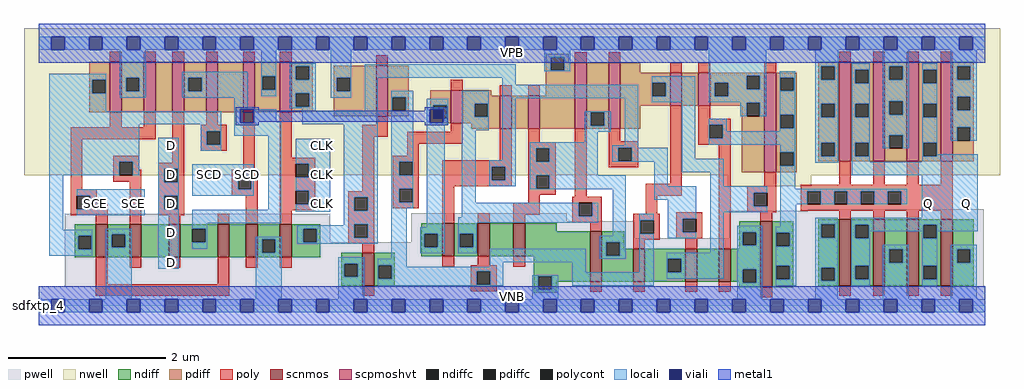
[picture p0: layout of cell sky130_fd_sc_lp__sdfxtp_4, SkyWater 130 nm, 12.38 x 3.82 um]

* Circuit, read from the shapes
.subckt sky130_fd_sc_lp__sdfxtp_4 CLK D SCD SCE VGND VNB VPB VPWR Q
XM1 VGND SCE n1 VNB sky130_fd_pr__nfet_01v8 w=0.42 l=0.15
XM2 n2 n1 VGND VNB sky130_fd_pr__nfet_01v8 w=0.42 l=0.15
XM3 n3 D n2 VNB sky130_fd_pr__nfet_01v8 w=0.42 l=0.15
XM4 n4 SCE n3 VNB sky130_fd_pr__nfet_01v8 w=0.42 l=0.15
XM5 VGND SCD n4 VNB sky130_fd_pr__nfet_01v8 w=0.42 l=0.15
XM6 n5 CLK VGND VNB sky130_fd_pr__nfet_01v8 w=0.42 l=0.15
XM7 n6 n5 VGND VNB sky130_fd_pr__nfet_01v8 w=0.42 l=0.15
XM8 n7 n5 n3 VNB sky130_fd_pr__nfet_01v8 w=0.42 l=0.15
XM9 n8 n6 n7 VNB sky130_fd_pr__nfet_01v8 w=0.42 l=0.15
XM10 VGND n9 n8 VNB sky130_fd_pr__nfet_01v8 w=0.42 l=0.15
XM11 n9 n7 VGND VNB sky130_fd_pr__nfet_01v8 w=0.64 l=0.15
XM12 n10 n6 n9 VNB sky130_fd_pr__nfet_01v8 w=0.42 l=0.15
XM13 n11 n5 n10 VNB sky130_fd_pr__nfet_01v8 w=0.42 l=0.15
XM14 VGND n12 n11 VNB sky130_fd_pr__nfet_01v8 w=0.42 l=0.15
XM15 n12 n10 VGND VNB sky130_fd_pr__nfet_01v8 w=0.84 l=0.15
XM16 Q n12 VGND VNB sky130_fd_pr__nfet_01v8 w=0.84 l=0.15 m=4
XM17 VPWR SCE n1 VPB sky130_fd_pr__pfet_01v8_hvt w=0.64 l=0.15
XM18 n13 SCE VPWR VPB sky130_fd_pr__pfet_01v8_hvt w=0.64 l=0.15
XM19 n3 D n13 VPB sky130_fd_pr__pfet_01v8_hvt w=0.64 l=0.15
XM20 n14 n1 n3 VPB sky130_fd_pr__pfet_01v8_hvt w=0.64 l=0.15
XM21 VPWR SCD n14 VPB sky130_fd_pr__pfet_01v8_hvt w=0.64 l=0.15
XM22 n5 CLK VPWR VPB sky130_fd_pr__pfet_01v8_hvt w=0.64 l=0.15
XM23 n6 n5 VPWR VPB sky130_fd_pr__pfet_01v8_hvt w=0.64 l=0.15
XM24 n7 n6 n3 VPB sky130_fd_pr__pfet_01v8_hvt w=0.42 l=0.15
XM25 n15 n5 n7 VPB sky130_fd_pr__pfet_01v8_hvt w=0.42 l=0.15
XM26 VPWR n9 n15 VPB sky130_fd_pr__pfet_01v8_hvt w=0.42 l=0.15
XM27 n9 n7 VPWR VPB sky130_fd_pr__pfet_01v8_hvt w=0.84 l=0.15
XM28 n10 n5 n9 VPB sky130_fd_pr__pfet_01v8_hvt w=0.84 l=0.15
XM29 n16 n6 n10 VPB sky130_fd_pr__pfet_01v8_hvt w=0.42 l=0.15
XM30 VPWR n12 n16 VPB sky130_fd_pr__pfet_01v8_hvt w=0.42 l=0.15
XM31 n12 n10 VPWR VPB sky130_fd_pr__pfet_01v8_hvt w=1.26 l=0.15
XM32 Q n12 VPWR VPB sky130_fd_pr__pfet_01v8_hvt w=1.26 l=0.15 m=4
.ends

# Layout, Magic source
magic
tech sky130A
magscale 1 2
<< nwell >>
rect -38 331 2438 704
rect 1747 303 1959 331
<< pwell >>
rect 1951 241 2397 245
rect 65 161 739 233
rect 944 215 1339 235
rect 944 171 1511 215
rect 1751 171 2397 241
rect 944 161 2397 171
rect 65 49 2397 161
rect 0 0 2400 49
<< scnmos >>
rect 144 123 174 207
rect 230 123 260 207
rect 329 123 359 207
rect 453 123 483 207
rect 525 123 555 207
rect 611 123 641 207
rect 820 51 850 135
rect 1023 125 1053 209
rect 1113 125 1143 209
rect 1203 125 1233 209
rect 1398 61 1428 189
rect 1507 61 1537 145
rect 1640 61 1670 145
rect 1725 61 1755 145
rect 1830 47 1860 215
rect 2030 51 2060 219
rect 2116 51 2146 219
rect 2202 51 2232 219
rect 2288 51 2318 219
<< scpmoshvt >>
rect 180 491 210 619
rect 266 491 296 619
rect 338 491 368 619
rect 424 491 454 619
rect 518 491 548 619
rect 611 491 641 619
rect 855 481 885 609
rect 1045 463 1075 547
rect 1169 449 1199 533
rect 1241 449 1271 533
rect 1359 449 1389 617
rect 1445 449 1475 617
rect 1601 507 1631 591
rect 1673 507 1703 591
rect 1840 339 1870 591
rect 2030 367 2060 619
rect 2116 367 2146 619
rect 2202 367 2232 619
rect 2288 367 2318 619
<< ndiff >>
rect 91 177 144 207
rect 91 143 99 177
rect 133 143 144 177
rect 91 123 144 143
rect 174 182 230 207
rect 174 148 185 182
rect 219 148 230 182
rect 174 123 230 148
rect 260 123 329 207
rect 359 195 453 207
rect 359 161 389 195
rect 423 161 453 195
rect 359 123 453 161
rect 483 123 525 207
rect 555 169 611 207
rect 555 135 566 169
rect 600 135 611 169
rect 555 123 611 135
rect 641 195 713 207
rect 641 161 671 195
rect 705 161 713 195
rect 641 123 713 161
rect 970 183 1023 209
rect 970 149 978 183
rect 1012 149 1023 183
rect 767 107 820 135
rect 767 73 775 107
rect 809 73 820 107
rect 767 51 820 73
rect 850 103 903 135
rect 970 125 1023 149
rect 1053 183 1113 209
rect 1053 149 1068 183
rect 1102 149 1113 183
rect 1053 125 1113 149
rect 1143 125 1203 209
rect 1233 189 1313 209
rect 1233 125 1398 189
rect 850 69 861 103
rect 895 69 903 103
rect 850 51 903 69
rect 1255 75 1398 125
rect 1255 41 1267 75
rect 1301 61 1398 75
rect 1428 161 1485 189
rect 1428 127 1439 161
rect 1473 145 1485 161
rect 1777 187 1830 215
rect 1777 153 1785 187
rect 1819 153 1830 187
rect 1777 145 1830 153
rect 1473 127 1507 145
rect 1428 61 1507 127
rect 1537 119 1640 145
rect 1537 85 1595 119
rect 1629 85 1640 119
rect 1537 61 1640 85
rect 1670 61 1725 145
rect 1755 93 1830 145
rect 1755 61 1785 93
rect 1301 41 1313 61
rect 1255 33 1313 41
rect 1777 59 1785 61
rect 1819 59 1830 93
rect 1777 47 1830 59
rect 1860 185 1913 215
rect 1860 151 1871 185
rect 1905 151 1913 185
rect 1860 101 1913 151
rect 1860 67 1871 101
rect 1905 67 1913 101
rect 1860 47 1913 67
rect 1977 207 2030 219
rect 1977 173 1985 207
rect 2019 173 2030 207
rect 1977 97 2030 173
rect 1977 63 1985 97
rect 2019 63 2030 97
rect 1977 51 2030 63
rect 2060 205 2116 219
rect 2060 171 2071 205
rect 2105 171 2116 205
rect 2060 101 2116 171
rect 2060 67 2071 101
rect 2105 67 2116 101
rect 2060 51 2116 67
rect 2146 143 2202 219
rect 2146 109 2157 143
rect 2191 109 2202 143
rect 2146 51 2202 109
rect 2232 205 2288 219
rect 2232 171 2243 205
rect 2277 171 2288 205
rect 2232 101 2288 171
rect 2232 67 2243 101
rect 2277 67 2288 101
rect 2232 51 2288 67
rect 2318 143 2371 219
rect 2318 109 2329 143
rect 2363 109 2371 143
rect 2318 51 2371 109
<< pdiff >>
rect 127 573 180 619
rect 127 539 135 573
rect 169 539 180 573
rect 127 491 180 539
rect 210 578 266 619
rect 210 544 221 578
rect 255 544 266 578
rect 210 491 266 544
rect 296 491 338 619
rect 368 578 424 619
rect 368 544 379 578
rect 413 544 424 578
rect 368 491 424 544
rect 454 491 518 619
rect 548 582 611 619
rect 548 548 566 582
rect 600 548 611 582
rect 548 491 611 548
rect 641 607 694 619
rect 1286 631 1344 639
rect 641 573 652 607
rect 686 573 694 607
rect 641 539 694 573
rect 641 505 652 539
rect 686 505 694 539
rect 641 491 694 505
rect 748 578 855 609
rect 748 544 756 578
rect 790 544 855 578
rect 748 481 855 544
rect 885 529 938 609
rect 1286 597 1298 631
rect 1332 617 1344 631
rect 1332 597 1359 617
rect 885 495 896 529
rect 930 495 938 529
rect 885 481 938 495
rect 992 509 1045 547
rect 992 475 1000 509
rect 1034 475 1045 509
rect 992 463 1045 475
rect 1075 533 1147 547
rect 1286 533 1359 597
rect 1075 513 1169 533
rect 1075 479 1105 513
rect 1139 479 1169 513
rect 1075 463 1169 479
rect 1097 449 1169 463
rect 1199 449 1241 533
rect 1271 449 1359 533
rect 1389 491 1445 617
rect 1389 457 1400 491
rect 1434 457 1445 491
rect 1389 449 1445 457
rect 1475 591 1525 617
rect 1977 607 2030 619
rect 1475 566 1601 591
rect 1475 532 1556 566
rect 1590 532 1601 566
rect 1475 507 1601 532
rect 1631 507 1673 591
rect 1703 583 1840 591
rect 1703 566 1795 583
rect 1703 532 1714 566
rect 1748 549 1795 566
rect 1829 549 1840 583
rect 1748 532 1840 549
rect 1703 515 1840 532
rect 1703 507 1795 515
rect 1475 449 1525 507
rect 1783 481 1795 507
rect 1829 481 1840 515
rect 1783 339 1840 481
rect 1870 579 1923 591
rect 1870 545 1881 579
rect 1915 545 1923 579
rect 1870 484 1923 545
rect 1870 450 1881 484
rect 1915 450 1923 484
rect 1870 389 1923 450
rect 1870 355 1881 389
rect 1915 355 1923 389
rect 1977 573 1985 607
rect 2019 573 2030 607
rect 1977 512 2030 573
rect 1977 478 1985 512
rect 2019 478 2030 512
rect 1977 413 2030 478
rect 1977 379 1985 413
rect 2019 379 2030 413
rect 1977 367 2030 379
rect 2060 599 2116 619
rect 2060 565 2071 599
rect 2105 565 2116 599
rect 2060 512 2116 565
rect 2060 478 2071 512
rect 2105 478 2116 512
rect 2060 413 2116 478
rect 2060 379 2071 413
rect 2105 379 2116 413
rect 2060 367 2116 379
rect 2146 607 2202 619
rect 2146 573 2157 607
rect 2191 573 2202 607
rect 2146 519 2202 573
rect 2146 485 2157 519
rect 2191 485 2202 519
rect 2146 433 2202 485
rect 2146 399 2157 433
rect 2191 399 2202 433
rect 2146 367 2202 399
rect 2232 599 2288 619
rect 2232 565 2243 599
rect 2277 565 2288 599
rect 2232 512 2288 565
rect 2232 478 2243 512
rect 2277 478 2288 512
rect 2232 413 2288 478
rect 2232 379 2243 413
rect 2277 379 2288 413
rect 2232 367 2288 379
rect 2318 607 2371 619
rect 2318 573 2329 607
rect 2363 573 2371 607
rect 2318 530 2371 573
rect 2318 496 2329 530
rect 2363 496 2371 530
rect 2318 453 2371 496
rect 2318 419 2329 453
rect 2363 419 2371 453
rect 2318 367 2371 419
rect 1870 339 1923 355
<< ndiffc >>
rect 99 143 133 177
rect 185 148 219 182
rect 389 161 423 195
rect 566 135 600 169
rect 671 161 705 195
rect 978 149 1012 183
rect 775 73 809 107
rect 1068 149 1102 183
rect 861 69 895 103
rect 1267 41 1301 75
rect 1439 127 1473 161
rect 1785 153 1819 187
rect 1595 85 1629 119
rect 1785 59 1819 93
rect 1871 151 1905 185
rect 1871 67 1905 101
rect 1985 173 2019 207
rect 1985 63 2019 97
rect 2071 171 2105 205
rect 2071 67 2105 101
rect 2157 109 2191 143
rect 2243 171 2277 205
rect 2243 67 2277 101
rect 2329 109 2363 143
<< pdiffc >>
rect 135 539 169 573
rect 221 544 255 578
rect 379 544 413 578
rect 566 548 600 582
rect 652 573 686 607
rect 652 505 686 539
rect 756 544 790 578
rect 1298 597 1332 631
rect 896 495 930 529
rect 1000 475 1034 509
rect 1105 479 1139 513
rect 1400 457 1434 491
rect 1556 532 1590 566
rect 1714 532 1748 566
rect 1795 549 1829 583
rect 1795 481 1829 515
rect 1881 545 1915 579
rect 1881 450 1915 484
rect 1881 355 1915 389
rect 1985 573 2019 607
rect 1985 478 2019 512
rect 1985 379 2019 413
rect 2071 565 2105 599
rect 2071 478 2105 512
rect 2071 379 2105 413
rect 2157 573 2191 607
rect 2157 485 2191 519
rect 2157 399 2191 433
rect 2243 565 2277 599
rect 2243 478 2277 512
rect 2243 379 2277 413
rect 2329 573 2363 607
rect 2329 496 2363 530
rect 2329 419 2363 453
<< poly >>
rect 180 619 210 645
rect 266 619 296 645
rect 338 619 368 645
rect 424 619 454 645
rect 518 619 548 645
rect 611 619 641 645
rect 855 609 885 635
rect 180 453 210 491
rect 266 453 296 491
rect 80 423 296 453
rect 80 295 110 423
rect 188 365 254 381
rect 188 331 204 365
rect 238 345 254 365
rect 338 363 368 491
rect 424 459 454 491
rect 410 443 476 459
rect 410 409 426 443
rect 460 409 476 443
rect 410 393 476 409
rect 302 347 368 363
rect 238 331 260 345
rect 188 315 260 331
rect 80 279 146 295
rect 80 245 96 279
rect 130 259 146 279
rect 130 245 174 259
rect 80 229 174 245
rect 144 207 174 229
rect 230 207 260 315
rect 302 313 318 347
rect 352 313 368 347
rect 518 345 548 491
rect 611 376 641 491
rect 1359 617 1389 643
rect 1445 617 1475 643
rect 2030 619 2060 645
rect 2116 619 2146 645
rect 2202 619 2232 645
rect 2288 619 2318 645
rect 1045 547 1075 573
rect 855 459 885 481
rect 1169 533 1199 559
rect 1241 533 1271 559
rect 820 429 885 459
rect 1045 441 1075 463
rect 1601 591 1631 617
rect 1673 591 1703 617
rect 1840 591 1870 617
rect 611 360 701 376
rect 302 279 368 313
rect 489 329 555 345
rect 489 295 505 329
rect 539 295 555 329
rect 489 279 555 295
rect 302 245 318 279
rect 352 245 368 279
rect 302 229 368 245
rect 329 207 359 229
rect 453 207 483 233
rect 525 207 555 279
rect 611 326 651 360
rect 685 326 701 360
rect 611 292 701 326
rect 611 258 651 292
rect 685 258 701 292
rect 820 291 850 429
rect 934 411 1075 441
rect 934 381 964 411
rect 611 242 701 258
rect 784 275 850 291
rect 611 207 641 242
rect 784 241 800 275
rect 834 241 850 275
rect 898 365 964 381
rect 1169 369 1199 449
rect 898 331 914 365
rect 948 331 964 365
rect 898 297 964 331
rect 898 263 914 297
rect 948 263 964 297
rect 898 247 964 263
rect 1023 353 1199 369
rect 1023 319 1149 353
rect 1183 319 1199 353
rect 1023 303 1199 319
rect 1241 415 1271 449
rect 1241 399 1311 415
rect 1241 365 1261 399
rect 1295 365 1311 399
rect 1241 331 1311 365
rect 784 207 850 241
rect 1023 209 1053 303
rect 1241 297 1261 331
rect 1295 297 1311 331
rect 1241 281 1311 297
rect 1241 261 1271 281
rect 1359 277 1389 449
rect 1445 417 1475 449
rect 1445 401 1520 417
rect 1445 367 1470 401
rect 1504 367 1520 401
rect 1445 351 1520 367
rect 1601 309 1631 507
rect 1673 475 1703 507
rect 1673 459 1755 475
rect 1673 425 1701 459
rect 1735 425 1755 459
rect 1673 409 1755 425
rect 1539 279 1631 309
rect 1113 209 1143 235
rect 1203 231 1271 261
rect 1353 261 1428 277
rect 1203 209 1233 231
rect 1353 227 1369 261
rect 1403 227 1428 261
rect 1539 233 1569 279
rect 1353 211 1428 227
rect 784 173 800 207
rect 834 173 850 207
rect 784 157 850 173
rect 820 135 850 157
rect 144 55 174 123
rect 230 97 260 123
rect 329 97 359 123
rect 453 55 483 123
rect 525 97 555 123
rect 611 97 641 123
rect 144 25 483 55
rect 1398 189 1428 211
rect 1507 217 1575 233
rect 1023 99 1053 125
rect 1113 103 1143 125
rect 1095 87 1161 103
rect 1203 99 1233 125
rect 1095 53 1111 87
rect 1145 53 1161 87
rect 820 25 850 51
rect 1095 37 1161 53
rect 1507 183 1525 217
rect 1559 183 1575 217
rect 1507 167 1575 183
rect 1617 221 1683 237
rect 1617 187 1633 221
rect 1667 187 1683 221
rect 1617 171 1683 187
rect 1507 145 1537 167
rect 1640 145 1670 171
rect 1725 145 1755 409
rect 1840 303 1870 339
rect 2030 307 2060 367
rect 2116 307 2146 367
rect 2202 307 2232 367
rect 2288 307 2318 367
rect 1797 287 1870 303
rect 1797 253 1813 287
rect 1847 253 1870 287
rect 1797 237 1870 253
rect 1933 291 2318 307
rect 1933 257 1949 291
rect 1983 257 2017 291
rect 2051 257 2085 291
rect 2119 257 2153 291
rect 2187 257 2318 291
rect 1933 241 2318 257
rect 1830 215 1860 237
rect 2030 219 2060 241
rect 2116 219 2146 241
rect 2202 219 2232 241
rect 2288 219 2318 241
rect 1398 35 1428 61
rect 1507 35 1537 61
rect 1640 35 1670 61
rect 1725 35 1755 61
rect 1830 21 1860 47
rect 2030 25 2060 51
rect 2116 25 2146 51
rect 2202 25 2232 51
rect 2288 25 2318 51
<< polycont >>
rect 204 331 238 365
rect 426 409 460 443
rect 96 245 130 279
rect 318 313 352 347
rect 505 295 539 329
rect 318 245 352 279
rect 651 326 685 360
rect 651 258 685 292
rect 800 241 834 275
rect 914 331 948 365
rect 914 263 948 297
rect 1149 319 1183 353
rect 1261 365 1295 399
rect 1261 297 1295 331
rect 1470 367 1504 401
rect 1701 425 1735 459
rect 1369 227 1403 261
rect 800 173 834 207
rect 1111 53 1145 87
rect 1525 183 1559 217
rect 1633 187 1667 221
rect 1813 253 1847 287
rect 1949 257 1983 291
rect 2017 257 2051 291
rect 2085 257 2119 291
rect 2153 257 2187 291
<< locali >>
rect 0 649 31 683
rect 65 649 127 683
rect 161 649 223 683
rect 257 649 319 683
rect 353 649 415 683
rect 449 649 511 683
rect 545 649 607 683
rect 641 649 703 683
rect 737 649 799 683
rect 833 649 895 683
rect 929 649 991 683
rect 1025 649 1087 683
rect 1121 649 1183 683
rect 1217 649 1279 683
rect 1313 649 1375 683
rect 1409 649 1471 683
rect 1505 649 1567 683
rect 1601 649 1663 683
rect 1697 649 1759 683
rect 1793 649 1855 683
rect 1889 649 1951 683
rect 1985 649 2047 683
rect 2081 649 2143 683
rect 2177 649 2239 683
rect 2273 649 2335 683
rect 2369 649 2400 683
rect 26 573 171 589
rect 26 539 135 573
rect 169 539 171 573
rect 26 494 171 539
rect 205 578 271 649
rect 205 544 221 578
rect 255 544 271 578
rect 205 528 271 544
rect 363 578 530 594
rect 363 544 379 578
rect 413 544 530 578
rect 363 528 530 544
rect 564 582 602 649
rect 564 548 566 582
rect 600 548 602 582
rect 564 532 602 548
rect 636 607 702 615
rect 636 573 652 607
rect 686 573 702 607
rect 636 539 702 573
rect 496 498 530 528
rect 636 505 652 539
rect 686 505 702 539
rect 740 578 792 649
rect 1282 631 1348 649
rect 740 544 756 578
rect 790 544 792 578
rect 740 528 792 544
rect 826 579 1209 613
rect 1282 597 1298 631
rect 1332 597 1348 631
rect 1282 595 1348 597
rect 1699 583 1845 649
rect 1969 607 2028 649
rect 636 501 702 505
rect 26 460 462 494
rect 26 365 254 460
rect 410 443 462 460
rect 26 331 204 365
rect 238 331 254 365
rect 302 347 355 426
rect 410 409 426 443
rect 460 409 462 443
rect 496 464 511 498
rect 545 467 602 498
rect 668 494 702 501
rect 826 494 860 579
rect 1175 561 1209 579
rect 1554 566 1665 582
rect 545 464 615 467
rect 496 431 615 464
rect 668 460 860 494
rect 410 393 462 409
rect 26 193 62 331
rect 302 313 318 347
rect 352 313 355 347
rect 96 279 268 295
rect 130 245 268 279
rect 96 229 268 245
rect 302 279 355 313
rect 389 329 545 359
rect 389 295 505 329
rect 539 295 545 329
rect 389 279 545 295
rect 302 245 318 279
rect 352 245 355 279
rect 26 177 135 193
rect 26 143 99 177
rect 133 143 135 177
rect 26 127 135 143
rect 169 182 235 195
rect 169 148 185 182
rect 219 148 235 182
rect 169 17 235 148
rect 302 94 355 245
rect 581 243 615 431
rect 389 209 615 243
rect 651 360 739 424
rect 685 326 739 360
rect 651 292 739 326
rect 685 258 739 292
rect 651 238 739 258
rect 773 275 860 460
rect 773 241 800 275
rect 834 241 860 275
rect 389 195 427 209
rect 773 207 860 241
rect 773 204 800 207
rect 423 161 427 195
rect 655 195 800 204
rect 389 145 427 161
rect 550 169 616 175
rect 550 135 566 169
rect 600 135 616 169
rect 655 161 671 195
rect 705 173 800 195
rect 834 173 860 207
rect 705 161 860 173
rect 655 157 860 161
rect 894 529 950 545
rect 894 495 896 529
rect 930 495 950 529
rect 894 365 950 495
rect 894 331 914 365
rect 948 331 950 365
rect 894 297 950 331
rect 894 263 914 297
rect 948 263 950 297
rect 894 247 950 263
rect 984 509 1038 525
rect 984 498 1000 509
rect 984 464 991 498
rect 1034 475 1038 509
rect 1025 464 1038 475
rect 984 459 1038 464
rect 1072 513 1141 545
rect 1072 479 1105 513
rect 1139 479 1141 513
rect 550 17 616 135
rect 759 107 825 123
rect 894 119 933 247
rect 984 199 1030 459
rect 1072 445 1141 479
rect 1175 527 1520 561
rect 1072 261 1108 445
rect 1175 369 1209 527
rect 1384 491 1450 493
rect 1384 457 1400 491
rect 1434 457 1450 491
rect 1384 441 1450 457
rect 1384 415 1418 441
rect 1142 353 1209 369
rect 1142 319 1149 353
rect 1183 319 1209 353
rect 1142 303 1209 319
rect 1245 399 1418 415
rect 1486 407 1520 527
rect 1554 532 1556 566
rect 1590 532 1665 566
rect 1554 516 1665 532
rect 1699 566 1795 583
rect 1699 532 1714 566
rect 1748 549 1795 566
rect 1829 549 1845 583
rect 1748 532 1845 549
rect 1699 516 1845 532
rect 1245 365 1261 399
rect 1295 365 1418 399
rect 1454 401 1520 407
rect 1454 367 1470 401
rect 1504 367 1595 401
rect 1454 365 1595 367
rect 1245 331 1418 365
rect 1245 297 1261 331
rect 1295 297 1489 331
rect 1245 295 1489 297
rect 1072 227 1369 261
rect 1403 227 1419 261
rect 1072 224 1419 227
rect 967 183 1030 199
rect 967 149 978 183
rect 1012 149 1030 183
rect 967 133 1030 149
rect 1064 211 1419 224
rect 1064 183 1110 211
rect 1064 149 1068 183
rect 1102 149 1110 183
rect 1455 177 1489 295
rect 1561 303 1595 365
rect 1631 373 1665 516
rect 1779 515 1845 516
rect 1779 481 1795 515
rect 1829 481 1845 515
rect 1879 579 1919 595
rect 1879 545 1881 579
rect 1915 545 1919 579
rect 1879 484 1919 545
rect 1699 459 1745 475
rect 1699 425 1701 459
rect 1735 443 1745 459
rect 1879 450 1881 484
rect 1915 450 1919 484
rect 1879 443 1919 450
rect 1735 425 1919 443
rect 1699 409 1919 425
rect 1881 389 1919 409
rect 1631 339 1737 373
rect 1703 303 1737 339
rect 1915 355 1919 389
rect 1969 573 1985 607
rect 2019 573 2028 607
rect 1969 512 2028 573
rect 1969 478 1985 512
rect 2019 478 2028 512
rect 1969 413 2028 478
rect 1969 379 1985 413
rect 2019 379 2028 413
rect 1969 363 2028 379
rect 2062 599 2107 615
rect 2062 565 2071 599
rect 2105 565 2107 599
rect 2062 512 2107 565
rect 2062 478 2071 512
rect 2105 478 2107 512
rect 2062 413 2107 478
rect 2062 379 2071 413
rect 2105 379 2107 413
rect 2141 607 2207 649
rect 2141 573 2157 607
rect 2191 573 2207 607
rect 2141 519 2207 573
rect 2141 485 2157 519
rect 2191 485 2207 519
rect 2141 433 2207 485
rect 2141 399 2157 433
rect 2191 399 2207 433
rect 2241 599 2279 615
rect 2241 565 2243 599
rect 2277 565 2279 599
rect 2241 512 2279 565
rect 2241 478 2243 512
rect 2277 478 2279 512
rect 2241 413 2279 478
rect 2313 607 2379 649
rect 2313 573 2329 607
rect 2363 573 2379 607
rect 2313 530 2379 573
rect 2313 496 2329 530
rect 2363 496 2379 530
rect 2313 453 2379 496
rect 2313 419 2329 453
rect 2363 419 2379 453
rect 2062 365 2107 379
rect 2241 379 2243 413
rect 2277 385 2279 413
rect 2277 379 2382 385
rect 2241 365 2382 379
rect 1561 269 1667 303
rect 1064 133 1110 149
rect 1423 161 1489 177
rect 759 73 775 107
rect 809 73 825 107
rect 759 17 825 73
rect 859 103 933 119
rect 859 69 861 103
rect 895 99 933 103
rect 1144 111 1387 145
rect 1423 127 1439 161
rect 1473 127 1489 161
rect 1423 119 1489 127
rect 1523 217 1559 233
rect 1523 183 1525 217
rect 1144 99 1178 111
rect 895 87 1178 99
rect 895 69 1111 87
rect 859 53 1111 69
rect 1145 53 1178 87
rect 1353 85 1387 111
rect 1523 85 1559 183
rect 1595 221 1667 269
rect 1595 187 1633 221
rect 1595 171 1667 187
rect 1703 287 1847 303
rect 1703 253 1813 287
rect 1703 237 1847 253
rect 1881 297 1919 355
rect 2062 331 2382 365
rect 1881 291 2203 297
rect 1881 257 1949 291
rect 1983 257 2017 291
rect 2051 257 2085 291
rect 2119 257 2153 291
rect 2187 257 2203 291
rect 1703 135 1737 237
rect 859 51 1178 53
rect 1251 75 1317 77
rect 1251 41 1267 75
rect 1301 41 1317 75
rect 1353 51 1559 85
rect 1593 119 1737 135
rect 1593 85 1595 119
rect 1629 85 1737 119
rect 1593 69 1737 85
rect 1771 187 1835 203
rect 1881 201 1921 257
rect 2239 223 2382 331
rect 1771 153 1785 187
rect 1819 153 1835 187
rect 1771 93 1835 153
rect 1771 59 1785 93
rect 1819 59 1835 93
rect 1251 17 1317 41
rect 1771 17 1835 59
rect 1869 185 1921 201
rect 1869 151 1871 185
rect 1905 151 1921 185
rect 1869 101 1921 151
rect 1869 67 1871 101
rect 1905 67 1921 101
rect 1869 51 1921 67
rect 1969 207 2027 223
rect 1969 173 1985 207
rect 2019 173 2027 207
rect 1969 97 2027 173
rect 1969 63 1985 97
rect 2019 63 2027 97
rect 1969 17 2027 63
rect 2061 205 2382 223
rect 2061 171 2071 205
rect 2105 189 2243 205
rect 2105 171 2107 189
rect 2061 101 2107 171
rect 2241 171 2243 189
rect 2277 189 2382 205
rect 2277 171 2279 189
rect 2061 67 2071 101
rect 2105 67 2107 101
rect 2061 51 2107 67
rect 2141 143 2207 155
rect 2141 109 2157 143
rect 2191 109 2207 143
rect 2141 17 2207 109
rect 2241 101 2279 171
rect 2241 67 2243 101
rect 2277 67 2279 101
rect 2241 51 2279 67
rect 2313 143 2379 155
rect 2313 109 2329 143
rect 2363 109 2379 143
rect 2313 17 2379 109
rect 0 -17 31 17
rect 65 -17 127 17
rect 161 -17 223 17
rect 257 -17 319 17
rect 353 -17 415 17
rect 449 -17 511 17
rect 545 -17 607 17
rect 641 -17 703 17
rect 737 -17 799 17
rect 833 -17 895 17
rect 929 -17 991 17
rect 1025 -17 1087 17
rect 1121 -17 1183 17
rect 1217 -17 1279 17
rect 1313 -17 1375 17
rect 1409 -17 1471 17
rect 1505 -17 1567 17
rect 1601 -17 1663 17
rect 1697 -17 1759 17
rect 1793 -17 1855 17
rect 1889 -17 1951 17
rect 1985 -17 2047 17
rect 2081 -17 2143 17
rect 2177 -17 2239 17
rect 2273 -17 2335 17
rect 2369 -17 2400 17
<< viali >>
rect 31 649 65 683
rect 127 649 161 683
rect 223 649 257 683
rect 319 649 353 683
rect 415 649 449 683
rect 511 649 545 683
rect 607 649 641 683
rect 703 649 737 683
rect 799 649 833 683
rect 895 649 929 683
rect 991 649 1025 683
rect 1087 649 1121 683
rect 1183 649 1217 683
rect 1279 649 1313 683
rect 1375 649 1409 683
rect 1471 649 1505 683
rect 1567 649 1601 683
rect 1663 649 1697 683
rect 1759 649 1793 683
rect 1855 649 1889 683
rect 1951 649 1985 683
rect 2047 649 2081 683
rect 2143 649 2177 683
rect 2239 649 2273 683
rect 2335 649 2369 683
rect 511 464 545 498
rect 991 475 1000 498
rect 1000 475 1025 498
rect 991 464 1025 475
rect 31 -17 65 17
rect 127 -17 161 17
rect 223 -17 257 17
rect 319 -17 353 17
rect 415 -17 449 17
rect 511 -17 545 17
rect 607 -17 641 17
rect 703 -17 737 17
rect 799 -17 833 17
rect 895 -17 929 17
rect 991 -17 1025 17
rect 1087 -17 1121 17
rect 1183 -17 1217 17
rect 1279 -17 1313 17
rect 1375 -17 1409 17
rect 1471 -17 1505 17
rect 1567 -17 1601 17
rect 1663 -17 1697 17
rect 1759 -17 1793 17
rect 1855 -17 1889 17
rect 1951 -17 1985 17
rect 2047 -17 2081 17
rect 2143 -17 2177 17
rect 2239 -17 2273 17
rect 2335 -17 2369 17
<< metal1 >>
rect 0 683 2400 715
rect 0 649 31 683
rect 65 649 127 683
rect 161 649 223 683
rect 257 649 319 683
rect 353 649 415 683
rect 449 649 511 683
rect 545 649 607 683
rect 641 649 703 683
rect 737 649 799 683
rect 833 649 895 683
rect 929 649 991 683
rect 1025 649 1087 683
rect 1121 649 1183 683
rect 1217 649 1279 683
rect 1313 649 1375 683
rect 1409 649 1471 683
rect 1505 649 1567 683
rect 1601 649 1663 683
rect 1697 649 1759 683
rect 1793 649 1855 683
rect 1889 649 1951 683
rect 1985 649 2047 683
rect 2081 649 2143 683
rect 2177 649 2239 683
rect 2273 649 2335 683
rect 2369 649 2400 683
rect 0 617 2400 649
rect 499 498 557 504
rect 499 464 511 498
rect 545 495 557 498
rect 979 498 1037 504
rect 979 495 991 498
rect 545 467 991 495
rect 545 464 557 467
rect 499 458 557 464
rect 979 464 991 467
rect 1025 464 1037 498
rect 979 458 1037 464
rect 0 17 2400 49
rect 0 -17 31 17
rect 65 -17 127 17
rect 161 -17 223 17
rect 257 -17 319 17
rect 353 -17 415 17
rect 449 -17 511 17
rect 545 -17 607 17
rect 641 -17 703 17
rect 737 -17 799 17
rect 833 -17 895 17
rect 929 -17 991 17
rect 1025 -17 1087 17
rect 1121 -17 1183 17
rect 1217 -17 1279 17
rect 1313 -17 1375 17
rect 1409 -17 1471 17
rect 1505 -17 1567 17
rect 1601 -17 1663 17
rect 1697 -17 1759 17
rect 1793 -17 1855 17
rect 1889 -17 1951 17
rect 1985 -17 2047 17
rect 2081 -17 2143 17
rect 2177 -17 2239 17
rect 2273 -17 2335 17
rect 2369 -17 2400 17
rect 0 -49 2400 -17
<< labels >>
flabel pwell s 0 0 2400 49 0 FreeSans 200 0 0 0 VNB
port 6 nsew ground bidirectional
flabel nwell s 0 617 2400 666 0 FreeSans 200 0 0 0 VPB
port 7 nsew power bidirectional
rlabel comment s 0 0 0 0 4 sdfxtp_4
flabel metal1 s 0 617 2400 666 0 FreeSans 340 0 0 0 VPWR
port 8 nsew power bidirectional
flabel metal1 s 0 0 2400 49 0 FreeSans 340 0 0 0 VGND
port 5 nsew ground bidirectional
flabel locali s 703 242 737 276 0 FreeSans 340 0 0 0 CLK
port 1 nsew clock input
flabel locali s 703 316 737 350 0 FreeSans 340 0 0 0 CLK
port 1 nsew clock input
flabel locali s 703 390 737 424 0 FreeSans 340 0 0 0 CLK
port 1 nsew clock input
flabel locali s 127 242 161 276 0 FreeSans 340 0 0 0 SCE
port 4 nsew signal input
flabel locali s 223 242 257 276 0 FreeSans 340 0 0 0 SCE
port 4 nsew signal input
flabel locali s 415 316 449 350 0 FreeSans 340 0 0 0 SCD
port 3 nsew signal input
flabel locali s 511 316 545 350 0 FreeSans 340 0 0 0 SCD
port 3 nsew signal input
flabel locali s 319 94 353 128 0 FreeSans 340 0 0 0 D
port 2 nsew signal input
flabel locali s 319 168 353 202 0 FreeSans 340 0 0 0 D
port 2 nsew signal input
flabel locali s 319 242 353 276 0 FreeSans 340 0 0 0 D
port 2 nsew signal input
flabel locali s 319 316 353 350 0 FreeSans 340 0 0 0 D
port 2 nsew signal input
flabel locali s 319 390 353 424 0 FreeSans 340 0 0 0 D
port 2 nsew signal input
flabel locali s 2239 242 2273 276 0 FreeSans 340 0 0 0 Q
port 9 nsew signal output
flabel locali s 2335 242 2369 276 0 FreeSans 340 0 0 0 Q
port 9 nsew signal output
<< properties >>
string LEFsite unit
string LEFclass CORE
string FIXED_BBOX 0 0 2400 666
string GDS_FILE $PDKPATH/libs.ref/sky130_fd_sc_lp/gds/sky130_fd_sc_lp.gds
string LEFsymmetry X Y R90
string GDS_END 4054852
string GDS_START 4036452
<< end >>
